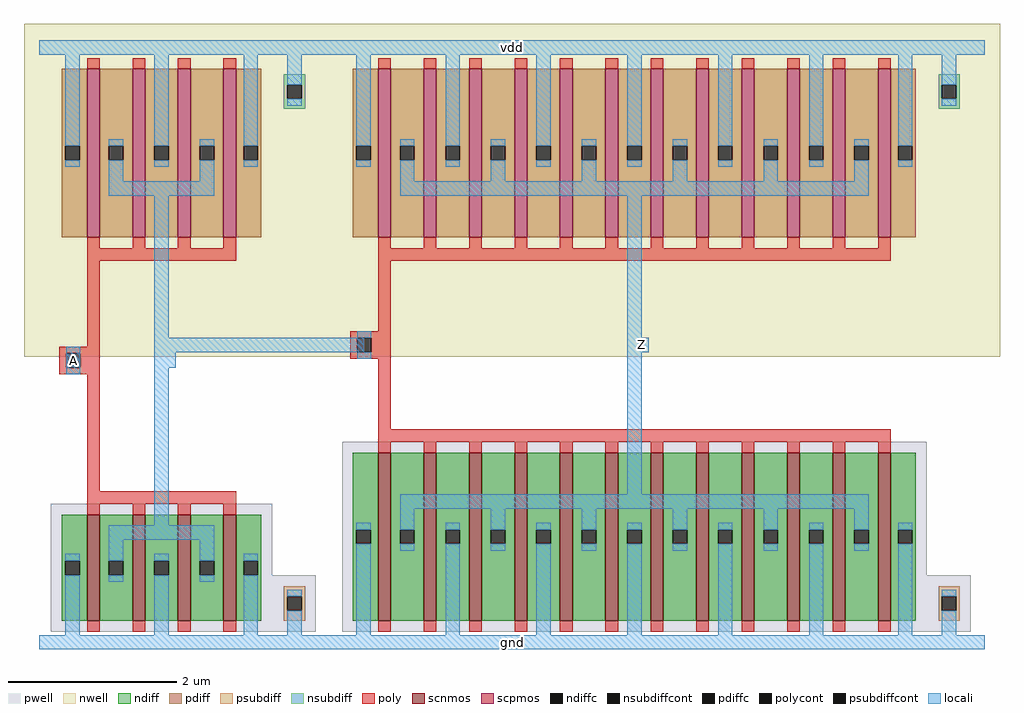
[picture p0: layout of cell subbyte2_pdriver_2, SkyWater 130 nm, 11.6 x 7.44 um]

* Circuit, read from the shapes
.subckt subbyte2_pdriver_2 Z A gnd vdd
XM1 subbyte2_pinv_10_0/A A gnd gnd sky130_fd_pr__nfet_01v8 w=1.26 l=0.15 m=4
XM2 Z subbyte2_pinv_10_0/A gnd gnd sky130_fd_pr__nfet_01v8 w=2 l=0.15 m=12
XM3 subbyte2_pinv_10_0/A A vdd vdd sky130_fd_pr__pfet_01v8 w=2 l=0.15 m=4
XM4 Z subbyte2_pinv_10_0/A vdd vdd sky130_fd_pr__pfet_01v8 w=2 l=0.15 m=12
.ends

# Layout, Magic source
magic
tech sky130A
magscale 1 2
<< nwell >>
rect -36 679 2284 1471
<< locali >>
rect 0 1397 2248 1431
rect 64 637 98 703
rect 291 690 773 724
rect 1415 690 1449 724
rect 291 670 325 690
rect 0 -17 2248 17
use subbyte2_pinv_9  subbyte2_pinv_9_0
transform 1 0 0 0 1 0
box -36 -17 728 1471
use subbyte2_pinv_10  subbyte2_pinv_10_0
transform 1 0 692 0 1 0
box -36 -17 1592 1471
<< labels >>
rlabel locali s 1432 707 1432 707 4 Z
port 1 nsew
rlabel locali s 81 670 81 670 4 A
port 2 nsew
rlabel locali s 1124 0 1124 0 4 gnd
port 3 nsew
rlabel locali s 1124 1414 1124 1414 4 vdd
port 4 nsew
<< properties >>
string FIXED_BBOX 0 0 2248 1414
<< end >>

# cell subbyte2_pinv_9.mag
magic
tech sky130A
magscale 1 2
<< nwell >>
rect -36 679 728 1471
<< pwell >>
rect 28 159 554 329
rect 28 25 658 159
<< scnmos >>
rect 114 51 144 303
rect 222 51 252 303
rect 330 51 360 303
rect 438 51 468 303
<< scpmos >>
rect 114 963 144 1363
rect 222 963 252 1363
rect 330 963 360 1363
rect 438 963 468 1363
<< ndiff >>
rect 54 194 114 303
rect 54 160 62 194
rect 96 160 114 194
rect 54 51 114 160
rect 144 194 222 303
rect 144 160 166 194
rect 200 160 222 194
rect 144 51 222 160
rect 252 194 330 303
rect 252 160 274 194
rect 308 160 330 194
rect 252 51 330 160
rect 360 194 438 303
rect 360 160 382 194
rect 416 160 438 194
rect 360 51 438 160
rect 468 194 528 303
rect 468 160 486 194
rect 520 160 528 194
rect 468 51 528 160
<< pdiff >>
rect 54 1180 114 1363
rect 54 1146 62 1180
rect 96 1146 114 1180
rect 54 963 114 1146
rect 144 1180 222 1363
rect 144 1146 166 1180
rect 200 1146 222 1180
rect 144 963 222 1146
rect 252 1180 330 1363
rect 252 1146 274 1180
rect 308 1146 330 1180
rect 252 963 330 1146
rect 360 1180 438 1363
rect 360 1146 382 1180
rect 416 1146 438 1180
rect 360 963 438 1146
rect 468 1180 528 1363
rect 468 1146 486 1180
rect 520 1146 528 1180
rect 468 963 528 1146
<< ndiffc >>
rect 62 160 96 194
rect 166 160 200 194
rect 274 160 308 194
rect 382 160 416 194
rect 486 160 520 194
<< pdiffc >>
rect 62 1146 96 1180
rect 166 1146 200 1180
rect 274 1146 308 1180
rect 382 1146 416 1180
rect 486 1146 520 1180
<< psubdiff >>
rect 582 109 632 133
rect 582 75 590 109
rect 624 75 632 109
rect 582 51 632 75
<< nsubdiff >>
rect 582 1326 632 1350
rect 582 1292 590 1326
rect 624 1292 632 1326
rect 582 1268 632 1292
<< psubdiffcont >>
rect 590 75 624 109
<< nsubdiffcont >>
rect 590 1292 624 1326
<< poly >>
rect 114 1363 144 1389
rect 222 1363 252 1389
rect 330 1363 360 1389
rect 438 1363 468 1389
rect 114 937 144 963
rect 222 937 252 963
rect 330 937 360 963
rect 438 937 468 963
rect 114 907 468 937
rect 114 703 144 907
rect 48 687 144 703
rect 48 653 64 687
rect 98 653 144 687
rect 48 637 144 653
rect 114 359 144 637
rect 114 329 468 359
rect 114 303 144 329
rect 222 303 252 329
rect 330 303 360 329
rect 438 303 468 329
rect 114 25 144 51
rect 222 25 252 51
rect 330 25 360 51
rect 438 25 468 51
<< polycont >>
rect 64 653 98 687
<< locali >>
rect 0 1397 692 1431
rect 62 1180 96 1397
rect 62 1130 96 1146
rect 166 1180 200 1196
rect 166 1096 200 1146
rect 274 1180 308 1397
rect 274 1130 308 1146
rect 382 1180 416 1196
rect 382 1096 416 1146
rect 486 1180 520 1397
rect 590 1326 624 1397
rect 590 1276 624 1292
rect 486 1130 520 1146
rect 166 1062 416 1096
rect 64 687 98 703
rect 64 637 98 653
rect 274 687 308 1062
rect 274 653 325 687
rect 274 278 308 653
rect 166 244 416 278
rect 62 194 96 210
rect 62 17 96 160
rect 166 194 200 244
rect 166 144 200 160
rect 274 194 308 210
rect 274 17 308 160
rect 382 194 416 244
rect 382 144 416 160
rect 486 194 520 210
rect 486 17 520 160
rect 590 109 624 125
rect 590 17 624 75
rect 0 -17 692 17
<< labels >>
rlabel locali s 81 670 81 670 4 A
port 1 nsew
rlabel locali s 308 670 308 670 4 Z
port 2 nsew
rlabel locali s 346 0 346 0 4 gnd
port 3 nsew
rlabel locali s 346 1414 346 1414 4 vdd
port 4 nsew
<< properties >>
string FIXED_BBOX 0 0 692 1079
<< end >>

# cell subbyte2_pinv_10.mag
magic
tech sky130A
magscale 1 2
<< nwell >>
rect -36 679 1592 1471
<< pwell >>
rect 28 159 1418 477
rect 28 25 1522 159
<< scnmos >>
rect 114 51 144 451
rect 222 51 252 451
rect 330 51 360 451
rect 438 51 468 451
rect 546 51 576 451
rect 654 51 684 451
rect 762 51 792 451
rect 870 51 900 451
rect 978 51 1008 451
rect 1086 51 1116 451
rect 1194 51 1224 451
rect 1302 51 1332 451
<< scpmos >>
rect 114 963 144 1363
rect 222 963 252 1363
rect 330 963 360 1363
rect 438 963 468 1363
rect 546 963 576 1363
rect 654 963 684 1363
rect 762 963 792 1363
rect 870 963 900 1363
rect 978 963 1008 1363
rect 1086 963 1116 1363
rect 1194 963 1224 1363
rect 1302 963 1332 1363
<< ndiff >>
rect 54 268 114 451
rect 54 234 62 268
rect 96 234 114 268
rect 54 51 114 234
rect 144 268 222 451
rect 144 234 166 268
rect 200 234 222 268
rect 144 51 222 234
rect 252 268 330 451
rect 252 234 274 268
rect 308 234 330 268
rect 252 51 330 234
rect 360 268 438 451
rect 360 234 382 268
rect 416 234 438 268
rect 360 51 438 234
rect 468 268 546 451
rect 468 234 490 268
rect 524 234 546 268
rect 468 51 546 234
rect 576 268 654 451
rect 576 234 598 268
rect 632 234 654 268
rect 576 51 654 234
rect 684 268 762 451
rect 684 234 706 268
rect 740 234 762 268
rect 684 51 762 234
rect 792 268 870 451
rect 792 234 814 268
rect 848 234 870 268
rect 792 51 870 234
rect 900 268 978 451
rect 900 234 922 268
rect 956 234 978 268
rect 900 51 978 234
rect 1008 268 1086 451
rect 1008 234 1030 268
rect 1064 234 1086 268
rect 1008 51 1086 234
rect 1116 268 1194 451
rect 1116 234 1138 268
rect 1172 234 1194 268
rect 1116 51 1194 234
rect 1224 268 1302 451
rect 1224 234 1246 268
rect 1280 234 1302 268
rect 1224 51 1302 234
rect 1332 268 1392 451
rect 1332 234 1350 268
rect 1384 234 1392 268
rect 1332 51 1392 234
<< pdiff >>
rect 54 1180 114 1363
rect 54 1146 62 1180
rect 96 1146 114 1180
rect 54 963 114 1146
rect 144 1180 222 1363
rect 144 1146 166 1180
rect 200 1146 222 1180
rect 144 963 222 1146
rect 252 1180 330 1363
rect 252 1146 274 1180
rect 308 1146 330 1180
rect 252 963 330 1146
rect 360 1180 438 1363
rect 360 1146 382 1180
rect 416 1146 438 1180
rect 360 963 438 1146
rect 468 1180 546 1363
rect 468 1146 490 1180
rect 524 1146 546 1180
rect 468 963 546 1146
rect 576 1180 654 1363
rect 576 1146 598 1180
rect 632 1146 654 1180
rect 576 963 654 1146
rect 684 1180 762 1363
rect 684 1146 706 1180
rect 740 1146 762 1180
rect 684 963 762 1146
rect 792 1180 870 1363
rect 792 1146 814 1180
rect 848 1146 870 1180
rect 792 963 870 1146
rect 900 1180 978 1363
rect 900 1146 922 1180
rect 956 1146 978 1180
rect 900 963 978 1146
rect 1008 1180 1086 1363
rect 1008 1146 1030 1180
rect 1064 1146 1086 1180
rect 1008 963 1086 1146
rect 1116 1180 1194 1363
rect 1116 1146 1138 1180
rect 1172 1146 1194 1180
rect 1116 963 1194 1146
rect 1224 1180 1302 1363
rect 1224 1146 1246 1180
rect 1280 1146 1302 1180
rect 1224 963 1302 1146
rect 1332 1180 1392 1363
rect 1332 1146 1350 1180
rect 1384 1146 1392 1180
rect 1332 963 1392 1146
<< ndiffc >>
rect 62 234 96 268
rect 166 234 200 268
rect 274 234 308 268
rect 382 234 416 268
rect 490 234 524 268
rect 598 234 632 268
rect 706 234 740 268
rect 814 234 848 268
rect 922 234 956 268
rect 1030 234 1064 268
rect 1138 234 1172 268
rect 1246 234 1280 268
rect 1350 234 1384 268
<< pdiffc >>
rect 62 1146 96 1180
rect 166 1146 200 1180
rect 274 1146 308 1180
rect 382 1146 416 1180
rect 490 1146 524 1180
rect 598 1146 632 1180
rect 706 1146 740 1180
rect 814 1146 848 1180
rect 922 1146 956 1180
rect 1030 1146 1064 1180
rect 1138 1146 1172 1180
rect 1246 1146 1280 1180
rect 1350 1146 1384 1180
<< psubdiff >>
rect 1446 109 1496 133
rect 1446 75 1454 109
rect 1488 75 1496 109
rect 1446 51 1496 75
<< nsubdiff >>
rect 1446 1326 1496 1350
rect 1446 1292 1454 1326
rect 1488 1292 1496 1326
rect 1446 1268 1496 1292
<< psubdiffcont >>
rect 1454 75 1488 109
<< nsubdiffcont >>
rect 1454 1292 1488 1326
<< poly >>
rect 114 1363 144 1389
rect 222 1363 252 1389
rect 330 1363 360 1389
rect 438 1363 468 1389
rect 546 1363 576 1389
rect 654 1363 684 1389
rect 762 1363 792 1389
rect 870 1363 900 1389
rect 978 1363 1008 1389
rect 1086 1363 1116 1389
rect 1194 1363 1224 1389
rect 1302 1363 1332 1389
rect 114 937 144 963
rect 222 937 252 963
rect 330 937 360 963
rect 438 937 468 963
rect 546 937 576 963
rect 654 937 684 963
rect 762 937 792 963
rect 870 937 900 963
rect 978 937 1008 963
rect 1086 937 1116 963
rect 1194 937 1224 963
rect 1302 937 1332 963
rect 114 907 1332 937
rect 114 740 144 907
rect 48 724 144 740
rect 48 690 64 724
rect 98 690 144 724
rect 48 674 144 690
rect 114 507 144 674
rect 114 477 1332 507
rect 114 451 144 477
rect 222 451 252 477
rect 330 451 360 477
rect 438 451 468 477
rect 546 451 576 477
rect 654 451 684 477
rect 762 451 792 477
rect 870 451 900 477
rect 978 451 1008 477
rect 1086 451 1116 477
rect 1194 451 1224 477
rect 1302 451 1332 477
rect 114 25 144 51
rect 222 25 252 51
rect 330 25 360 51
rect 438 25 468 51
rect 546 25 576 51
rect 654 25 684 51
rect 762 25 792 51
rect 870 25 900 51
rect 978 25 1008 51
rect 1086 25 1116 51
rect 1194 25 1224 51
rect 1302 25 1332 51
<< polycont >>
rect 64 690 98 724
<< locali >>
rect 0 1397 1556 1431
rect 62 1180 96 1397
rect 62 1130 96 1146
rect 166 1180 200 1196
rect 166 1096 200 1146
rect 274 1180 308 1397
rect 274 1130 308 1146
rect 382 1180 416 1196
rect 382 1096 416 1146
rect 490 1180 524 1397
rect 490 1130 524 1146
rect 598 1180 632 1196
rect 598 1096 632 1146
rect 706 1180 740 1397
rect 706 1130 740 1146
rect 814 1180 848 1196
rect 814 1096 848 1146
rect 922 1180 956 1397
rect 922 1130 956 1146
rect 1030 1180 1064 1196
rect 1030 1096 1064 1146
rect 1138 1180 1172 1397
rect 1138 1130 1172 1146
rect 1246 1180 1280 1196
rect 1246 1096 1280 1146
rect 1350 1180 1384 1397
rect 1454 1326 1488 1397
rect 1454 1276 1488 1292
rect 1350 1130 1384 1146
rect 166 1062 1280 1096
rect 64 724 98 740
rect 64 674 98 690
rect 706 724 740 1062
rect 706 690 757 724
rect 706 352 740 690
rect 166 318 1280 352
rect 62 268 96 284
rect 62 17 96 234
rect 166 268 200 318
rect 166 218 200 234
rect 274 268 308 284
rect 274 17 308 234
rect 382 268 416 318
rect 382 218 416 234
rect 490 268 524 284
rect 490 17 524 234
rect 598 268 632 318
rect 598 218 632 234
rect 706 268 740 284
rect 706 17 740 234
rect 814 268 848 318
rect 814 218 848 234
rect 922 268 956 284
rect 922 17 956 234
rect 1030 268 1064 318
rect 1030 218 1064 234
rect 1138 268 1172 284
rect 1138 17 1172 234
rect 1246 268 1280 318
rect 1246 218 1280 234
rect 1350 268 1384 284
rect 1350 17 1384 234
rect 1454 109 1488 125
rect 1454 17 1488 75
rect 0 -17 1556 17
<< labels >>
rlabel locali s 81 707 81 707 4 A
port 1 nsew
rlabel locali s 740 707 740 707 4 Z
port 2 nsew
rlabel locali s 778 0 778 0 4 gnd
port 3 nsew
rlabel locali s 778 1414 778 1414 4 vdd
port 4 nsew
<< properties >>
string FIXED_BBOX 0 0 1556 1079
<< end >>
